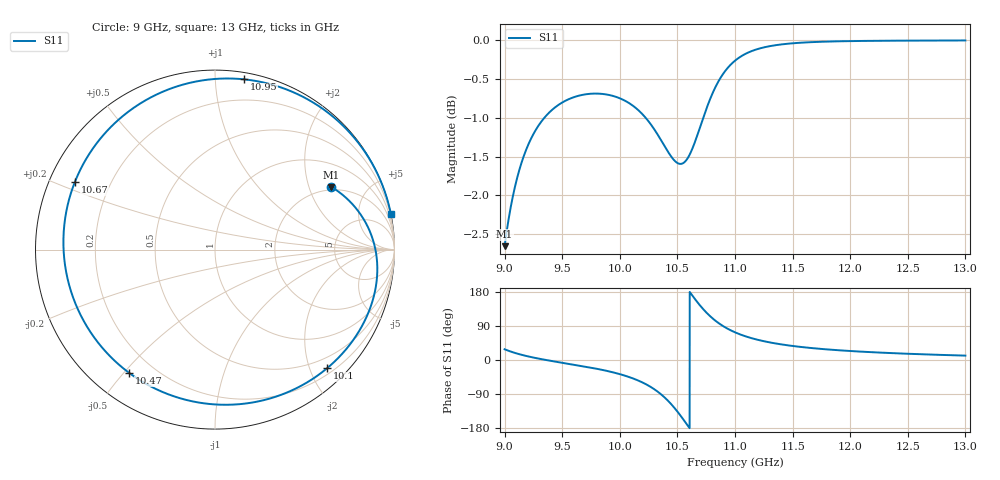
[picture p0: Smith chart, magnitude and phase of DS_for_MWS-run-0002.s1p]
! TOUCHSTONE file generated by CST DESIGN STUDIO
! Date and time: Tue Feb  4 14:40:35 2025
! Project name: C:\Work\MatlabApps\UnitCellOptimizationMatlab\CST\unitcell.cst
! Tree item: Tasks\Sweep1\SPara1\S-Parameters
! Header version: 2024
! Port assignment regex: !\s*Touchstone port\s*([0-9]+)\s*=\s*(CST MWS port|CST DES external port|CST DES block port)\s*(.+)\s* \(\"(.*)\"\)(\s*mode\s*([0-9]+))?.*
! Touchstone port assignment:
! Touchstone port 1 = CST DES external port 1 ("")
# GHz S MA R 50
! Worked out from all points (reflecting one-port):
!   4001 points, 9 GHz to 13 GHz, reference 50 ohm
!   lowest |S11| = -2.7 dB at 9 GHz (marker M1), VSWR 6.59, Z = 93.1 + j142 ohm
!   phase of S11 starts at 28 deg and turns -377 deg over the sweep
!   S11 on the Smith chart (normalised r, x): 9 GHz: 1.86, +2.84; 10.1 GHz: 0.30, -2.29; 10.47 GHz: 0.11, -0.52; 10.67 GHz: 0.08, +0.23; 10.95 GHz: 0.05, +1.18; 13 GHz: 0.01, +9.85
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9  0.7364 28.3
9.102  0.8113 17.5
9.208  0.8572 9.2
9.5  0.9117 -7.3
9.78  0.9239 -22.0
10  0.9175 -37.3
10.096  0.9094 -46.6
10.223  0.8915 -63.3
10.335  0.8678 -85.0
10.407  0.8501 -104.1
10.47  0.837 -124.8
10.5  0.8333 -136.1
10.547  0.8329 -155.0
10.588  0.839 -172.3
10.628  0.8507 170.8
10.669  0.8668 154.3
10.732  0.8948 131.5
10.794  0.9203 112.9
10.864  0.943 96.0
10.95  0.9624 80.3
11  0.9702 73.1
11.097  0.9807 61.9
11.209  0.9878 52.5
11.341  0.9926 44.2
11.5  0.9957 37.0
12  0.9989 23.7
12.5  0.9996 16.5
13  0.9999 11.6
